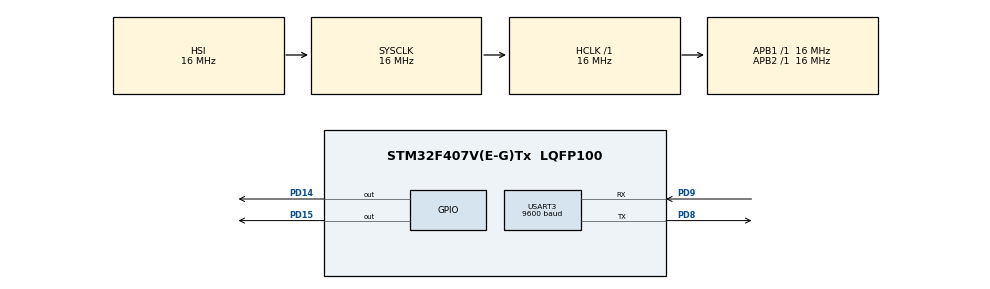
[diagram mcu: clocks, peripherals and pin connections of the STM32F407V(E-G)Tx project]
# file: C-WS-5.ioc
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Mcu.Family=STM32F4
Mcu.Name=STM32F407V(E-G)Tx
Mcu.Package=LQFP100
NVIC.PriorityGroup=NVIC_PRIORITYGROUP_4
PD14.Signal=GPIO_Output
PD15.Signal=GPIO_Output
PD8.Mode=Asynchronous
PD8.Signal=USART3_TX
PD9.Mode=Asynchronous
PD9.Signal=USART3_RX
ProjectManager.HeapSize=0x200
ProjectManager.StackSize=0x400
ProjectManager.TargetToolchain=STM32CubeIDE
RCC.AHBFreq_Value=16000000
RCC.APB1Freq_Value=16000000
RCC.APB2Freq_Value=16000000
RCC.CortexFreq_Value=16000000
RCC.HSE_VALUE=25000000
RCC.HSI_VALUE=16000000
RCC.LSE_VALUE=32768
RCC.SYSCLKFreq_VALUE=16000000
RCC.VCOOutputFreq_Value=192000000
USART3.BaudRate=9600
USART3.VirtualMode=VM_ASYNC
board=custom

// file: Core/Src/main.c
/* USER CODE BEGIN Header */
/**
  ******************************************************************************
  * @file           : main.c
  * @brief          : Main program body
  ******************************************************************************
  * @attention
  *
  * <h2><center>&copy; Copyright (c) 2021 STMicroelectronics.
  * All rights reserved.</center></h2>
  *
  * This software component is licensed by ST under BSD 3-Clause license,
  * the "License"; You may not use this file except in compliance with the
  * License. You may obtain a copy of the License at:
  *                        opensource.org/licenses/BSD-3-Clause
  *
  ******************************************************************************
  */
/* USER CODE END Header */
#include "main.h"

UART_HandleTypeDef huart3;

void SystemClock_Config(void);
static void MX_GPIO_Init(void);
static void MX_USART3_UART_Init(void);

int main(void)
{

  /* MCU Configuration--------------------------------------------------------*/

  /* Reset of all peripherals, Initializes the Flash interface and the Systick. */
  HAL_Init();

  /* Configure the system clock */
  SystemClock_Config();

  /* Initialize all configured peripherals */
  MX_GPIO_Init();
  MX_USART3_UART_Init();

  /* Infinite loop */
  /* USER CODE BEGIN WHILE */
  uint8_t rcvBuffer[1];
  HAL_StatusTypeDef result;
  while (1) {
	  result = HAL_UART_Receive(&huart3, rcvBuffer, 1, 10);

      if(result == HAL_OK) {
          switch(rcvBuffer[0]) {
            case '1':
                HAL_GPIO_WritePin(GPIOD, GPIO_PIN_15, GPIO_PIN_SET);
                HAL_UART_Transmit(&huart3, (uint8_t *)"Led ON\r\n", 6+2, 10);
                break;

            case '0':
                HAL_GPIO_WritePin(GPIOD, GPIO_PIN_15, GPIO_PIN_RESET);
                HAL_UART_Transmit(&huart3, (uint8_t *)"Led OFF\r\n", 7+2, 10);
                break;

            default:
                HAL_UART_Transmit(&huart3, (uint8_t *)"UnexpCmd\r\n", 8+2, 10);
          }
    	  HAL_GPIO_WritePin(GPIOD, GPIO_PIN_14, GPIO_PIN_RESET);
          HAL_Delay(1000);
      } else if (result == HAL_TIMEOUT) {
    	  HAL_GPIO_WritePin(GPIOD, GPIO_PIN_14, GPIO_PIN_SET);
      }
//      HAL_UART_Transmit(&huart3, (uint8_t *)".\r\n", 1+2, 10);
    /* USER CODE END WHILE */

  }
}

void SystemClock_Config(void)
{
  RCC_OscInitTypeDef RCC_OscInitStruct = {0};
  RCC_ClkInitTypeDef RCC_ClkInitStruct = {0};

  /** Configure the main internal regulator output voltage
  */
  __HAL_RCC_PWR_CLK_ENABLE();
  __HAL_PWR_VOLTAGESCALING_CONFIG(PWR_REGULATOR_VOLTAGE_SCALE1);
  /** Initializes the RCC Oscillators according to the specified parameters
  * in the RCC_OscInitTypeDef structure.
  */
  RCC_OscInitStruct.OscillatorType = RCC_OSCILLATORTYPE_HSI;
  RCC_OscInitStruct.HSIState = RCC_HSI_ON;
  RCC_OscInitStruct.HSICalibrationValue = RCC_HSICALIBRATION_DEFAULT;
  RCC_OscInitStruct.PLL.PLLState = RCC_PLL_NONE;
  if (HAL_RCC_OscConfig(&RCC_OscInitStruct) != HAL_OK)
  {
    Error_Handler();
  }
  /** Initializes the CPU, AHB and APB buses clocks
  */
  RCC_ClkInitStruct.ClockType = RCC_CLOCKTYPE_HCLK|RCC_CLOCKTYPE_SYSCLK
                              |RCC_CLOCKTYPE_PCLK1|RCC_CLOCKTYPE_PCLK2;
  RCC_ClkInitStruct.SYSCLKSource = RCC_SYSCLKSOURCE_HSI;
  RCC_ClkInitStruct.AHBCLKDivider = RCC_SYSCLK_DIV1;
  RCC_ClkInitStruct.APB1CLKDivider = RCC_HCLK_DIV1;
  RCC_ClkInitStruct.APB2CLKDivider = RCC_HCLK_DIV1;

  if (HAL_RCC_ClockConfig(&RCC_ClkInitStruct, FLASH_LATENCY_0) != HAL_OK)
  {
    Error_Handler();
  }
}

static void MX_USART3_UART_Init(void)
{

  huart3.Instance = USART3;
  huart3.Init.BaudRate = 9600;
  huart3.Init.WordLength = UART_WORDLENGTH_8B;
  huart3.Init.StopBits = UART_STOPBITS_1;
  huart3.Init.Parity = UART_PARITY_NONE;
  huart3.Init.Mode = UART_MODE_TX_RX;
  huart3.Init.HwFlowCtl = UART_HWCONTROL_NONE;
  huart3.Init.OverSampling = UART_OVERSAMPLING_16;
  if (HAL_UART_Init(&huart3) != HAL_OK)
  {
    Error_Handler();
  }

}

static void MX_GPIO_Init(void)
{
  GPIO_InitTypeDef GPIO_InitStruct = {0};

  /* GPIO Ports Clock Enable */
  __HAL_RCC_GPIOD_CLK_ENABLE();

  /*Configure GPIO pin Output Level */
  HAL_GPIO_WritePin(GPIOD, GPIO_PIN_14|GPIO_PIN_15, GPIO_PIN_RESET);

  /*Configure GPIO pins : PD14 PD15 */
  GPIO_InitStruct.Pin = GPIO_PIN_14|GPIO_PIN_15;
  GPIO_InitStruct.Mode = GPIO_MODE_OUTPUT_PP;
  GPIO_InitStruct.Pull = GPIO_NOPULL;
  GPIO_InitStruct.Speed = GPIO_SPEED_FREQ_LOW;
  HAL_GPIO_Init(GPIOD, &GPIO_InitStruct);

}

void Error_Handler(void)
{
  __disable_irq();
  while (1)
  {
  }
}

/************************ (C) COPYRIGHT STMicroelectronics *****END OF FILE****/
